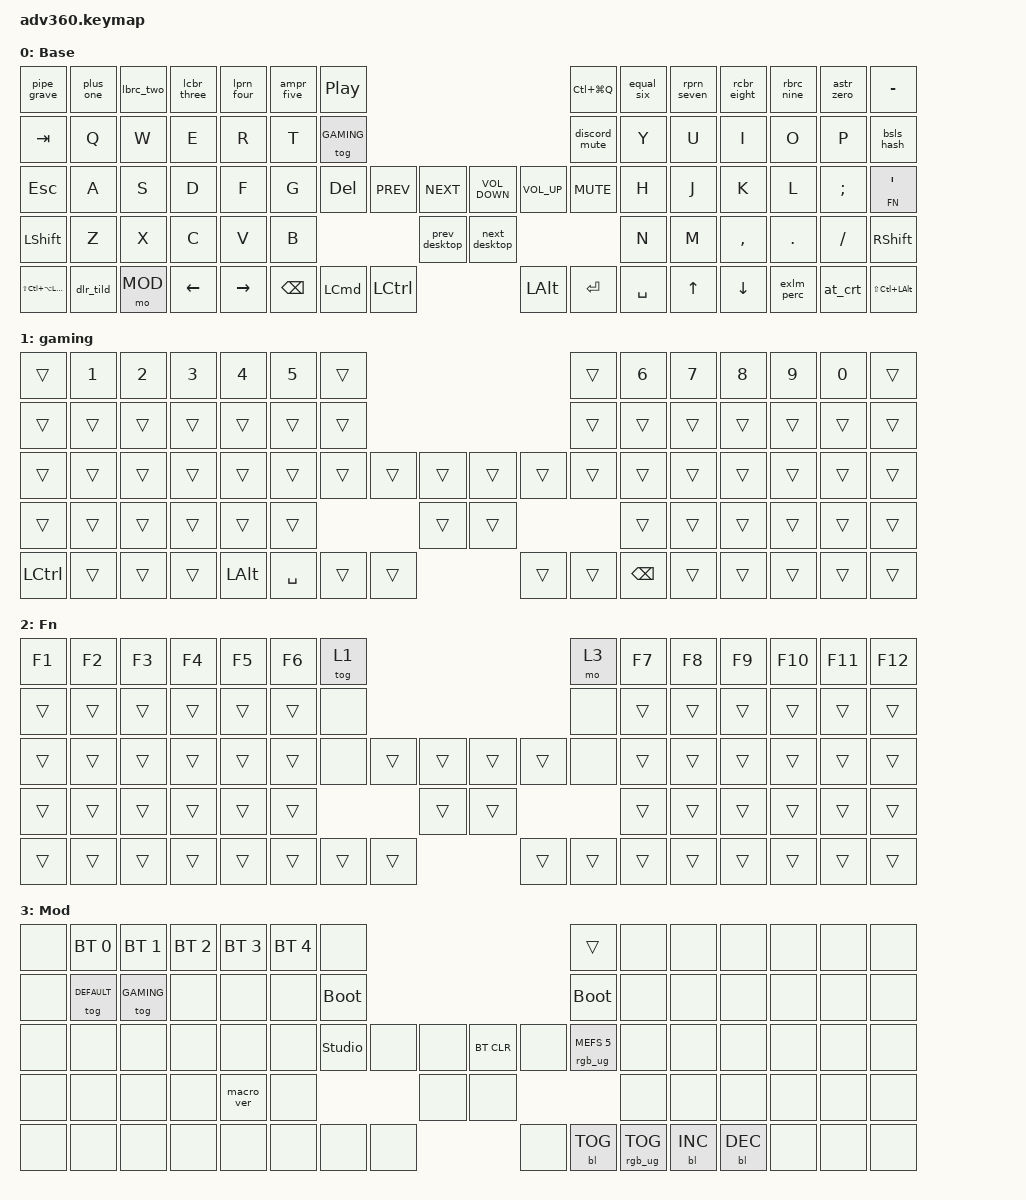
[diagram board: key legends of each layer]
#include <behaviors.dtsi>
#include <dt-bindings/zmk/keys.h>
#include <dt-bindings/zmk/bt.h>
#include <dt-bindings/zmk/rgb.h>
#include <dt-bindings/zmk/stp.h>
#include <dt-bindings/zmk/backlight.h>
#include <dt-bindings/zmk/pointing.h>

#define DEFAULT 0
#define GAMING 1
#define FN 2
#define MOD 3

#define HYP LS(LC(LA(LGUI)))
#define HYPER(key) LS(LC(LA(LG(key))))

#define MEH LS(LC(LALT))
#define MEH_KEY(key) LS(LC(LA(key)))

/ {
  macros {
    prev_desktop: prev_desktop {
      label = "MAC_PREV_DESKTOP";
      compatible = "zmk,behavior-macro";
      #binding-cells = <0>;
      bindings
        = <&macro_press &kp LCTRL>
        , <&macro_tap &kp LEFT>
        , <&macro_release &kp LCTRL>
        ;
    };

    next_desktop: next_desktop {
      label = "MAC_NEXT_DESKTOP";
      compatible = "zmk,behavior-macro";
      #binding-cells = <0>;
      bindings
        = <&macro_press &kp LCTRL>
        , <&macro_tap &kp RIGHT>
        , <&macro_release &kp LCTRL>
        ;
    };

    discord_mute: discord_mute {
      label = "MUTE_DISCORD";
      compatible = "zmk,behavior-macro";
      #binding-cells = <0>;
      bindings
        = <&macro_press &kp LGUI>
        , <&macro_press &kp LCTRL>
        , <&macro_press &kp LSHIFT>
        , <&macro_tap &kp F16>
        , <&macro_release &kp LSHIFT>
        , <&macro_release &kp LCTRL>
        , <&macro_release &kp LGUI>
        ;
    };

  };

    behaviors {
      #include "macros.dtsi"
      #include "version.dtsi"
      #ifndef VERSION_MACRO
      macro_ver: macro_ver {
        compatible = "zmk,behavior-macro";
        label = "macro_version";
        #binding-cells = <0>;
        bindings = <&kp RET>;
      };
      #endif
      pipe_grave: pipe_override {
          compatible = "zmk,behavior-mod-morph";
          label = "PIPE_GRAVE";
          #binding-cells = <0>;
          bindings = <&kp PIPE>, <&kp GRAVE>;
          mods = <(MOD_LSFT|MOD_RSFT)>;
      };

      plus_one: plus_override {
          compatible = "zmk,behavior-mod-morph";
          label = "PLUS_ONE";
          #binding-cells = <0>;
          bindings = <&kp PLUS>, <&kp N1>;
          mods = <(MOD_LSFT|MOD_RSFT)>;
      };

      lbrc_two: lbrc_override {
          compatible = "zmk,behavior-mod-morph";
          label = "LBRC_TWO";
          #binding-cells = <0>;
          bindings = <&kp LEFT_BRACKET>, <&kp N2>;
          mods = <(MOD_LSFT|MOD_RSFT)>;
      };

      lcbr_three: lcbr_override {
          compatible = "zmk,behavior-mod-morph";
          label = "LCBR_THREE";
          #binding-cells = <0>;
          bindings = <&kp LEFT_BRACE>, <&kp N3>;
          mods = <(MOD_LSFT|MOD_RSFT)>;
      };

      lprn_four: lprn_override{
          compatible = "zmk,behavior-mod-morph";
          label = "LPRN_FOUR";
          #binding-cells = <0>;
          bindings = <&kp LEFT_PARENTHESIS>, <&kp N4>;
          mods = <(MOD_LSFT|MOD_RSFT)>;
      };

      ampr_five: ampr_override {
          compatible = "zmk,behavior-mod-morph";
          label = "AMPR_FIVE";
          #binding-cells = <0>;
          bindings = <&kp AMPERSAND>, <&kp N5>;
          mods = <(MOD_LSFT|MOD_RSFT)>;
      };

      equal_six: equal_override {
          compatible = "zmk,behavior-mod-morph";
          label = "EQUAL_SIX";
          #binding-cells = <0>;
          bindings = <&kp EQUAL>, <&kp N6>;
          mods = <(MOD_LSFT|MOD_RSFT)>;
      };

      rprn_seven: rprn_override {
          compatible = "zmk,behavior-mod-morph";
          label = "RPRN_SEVEN";
          #binding-cells = <0>;
          bindings = <&kp RIGHT_PARENTHESIS>, <&kp N7>;
          mods = <(MOD_LSFT|MOD_RSFT)>;
      };

      rcbr_eight: rcbr_override {
          compatible = "zmk,behavior-mod-morph";
          label = "RCBR_EIGHT";
          #binding-cells = <0>;
          bindings = <&kp RIGHT_BRACE>, <&kp N8>;
          mods = <(MOD_LSFT|MOD_RSFT)>;
      };

      rbrc_nine: rbrc_override {
          compatible = "zmk,behavior-mod-morph";
          label = "RBRC_NINE";
          #binding-cells = <0>;
          bindings = <&kp RIGHT_BRACKET>, <&kp N9>;
          mods = <(MOD_LSFT|MOD_RSFT)>;
      };

      astr_zero: astr_override {
          compatible = "zmk,behavior-mod-morph";
          label = "ASTR_ZERO";
          #binding-cells = <0>;
          bindings = <&kp ASTRK>, <&kp N0>;
          mods = <(MOD_LSFT|MOD_RSFT)>;
      };

      exlm_perc: exlm_override {
          compatible = "zmk,behavior-mod-morph";
          label = "EXLM_PERC";
          #binding-cells = <0>;
          bindings = <&kp EXCLAMATION>, <&kp PRCNT>;
          mods = <(MOD_LSFT|MOD_RSFT)>;
      };

      bsls_hash: bsls_override {
          compatible = "zmk,behavior-mod-morph";
          label = "BSLS_HASH";
          #binding-cells = <0>;
          bindings = <&kp BSLH>, <&kp HASH>;
          mods = <(MOD_LSFT|MOD_RSFT)>;
      };

      at_crt: at_override {
          compatible = "zmk,behavior-mod-morph";
          label = "AT_CRT";
          #binding-cells = <0>;
          bindings = <&kp AT>, <&kp CARET>;
          mods = <(MOD_LSFT|MOD_RSFT)>;
      };

      dlr_tild: dlr_override {
          compatible = "zmk,behavior-mod-morph";
          label = "DLR_TILD";
          #binding-cells = <0>;
          bindings = <&kp DOLLAR>, <&kp TILDE>;
          mods = <(MOD_LSFT|MOD_RSFT)>;
      };


      hm: homerow_mods {
          compatible = "zmk,behavior-hold-tap";
          label = "HOMEROW_MODS";
          #binding-cells = <2>;
          tapping-term-ms = <200>;
          quick_tap_ms = <175>;
          flavor = "tap-preferred";
          bindings = <&kp>, <&kp>;
      };
    };

  keymap {
    compatible = "zmk,keymap";

    default_layer {
      display-name = "Base";
      bindings = <
        &pipe_grave                       &plus_one    &lbrc_two   &lcbr_three   &lprn_four     &ampr_five &kp C_PP                                                                                             &kp LC(LG(Q))      &equal_six &rprn_seven &rcbr_eight    &rbrc_nine   &astr_zero   &kp MINUS
        &kp TAB                           &kp Q        &kp W       &kp E         &kp R          &kp T      &tog GAMING                                                                                          &discord_mute      &kp Y      &kp U       &kp I          &kp O        &kp P        &bsls_hash
        &kp ESC                           &kp A        &kp S       &kp D         &kp F          &kp G      &kp DEL                   &kp C_PREV        &kp C_NEXT            &kp C_VOLUME_DOWN  &kp C_VOLUME_UP &kp C_MUTE         &kp H      &kp J       &kp K          &kp L        &kp SEMI     &lt FN SQT
        &kp LSHFT                         &kp Z        &kp X       &kp C         &kp V          &kp B                                                  &prev_desktop         &next_desktop                                         &kp N      &kp M       &kp COMMA      &kp DOT      &kp FSLH     &kp RSHFT
        &kp LS(LC(LA(LGUI)))              &dlr_tild    &mo MOD     &kp LEFT      &kp RIGHT                                 &kp BSPC  &kp LEFT_COMMAND  &kp LEFT_CONTROL      &kp LEFT_ALT       &kp ENTER  &kp SPACE                          &kp UP      &kp DOWN       &exlm_perc   &at_crt      &kp LS(LC(LALT))
      >;
    };

    gaming {
      bindings = <
        &trans                            &kp N1        &kp N2     &kp N3        &kp N4          &kp N5    &trans                                                                                               &trans              &kp N6     &kp N7      &kp N8         &kp N9       &kp N0       &trans
        &trans                            &trans        &trans     &trans        &trans          &trans    &trans                                                                                               &trans              &trans     &trans      &trans         &trans       &trans       &trans
        &trans                            &trans        &trans     &trans        &trans          &trans    &trans                    &trans             &trans                &trans              &trans        &trans              &trans     &trans      &trans         &trans       &trans       &trans
        &trans                            &trans        &trans     &trans        &trans          &trans                                                 &trans                &trans                                                &trans     &trans      &trans         &trans       &trans       &trans
        &kp LEFT_CONTROL                  &trans        &trans     &trans        &kp LEFT_ALT                      &kp SPACE &trans  &trans             &trans                &trans              &kp BSPC      &trans &trans &trans  &trans  &trans
      >;
    };

    fn {
      display-name = "Fn";
      bindings = <
        &kp F1 &kp F2 &kp F3 &kp F4 &kp F5 &kp F6 &tog 1                                           &mo 3 &kp F7 &kp F8 &kp F9 &kp F10 &kp F11 &kp F12
        &trans &trans &trans &trans &trans &trans  &none                                           &none &trans &trans &trans &trans  &trans  &trans
        &trans &trans &trans &trans &trans &trans  &none        &trans &trans &trans &trans        &none &trans &trans &trans &trans  &trans  &trans
        &trans &trans &trans &trans &trans &trans                      &trans &trans                     &trans &trans &trans &trans  &trans  &trans
        &trans &trans &trans &trans &trans               &trans &trans &trans &trans &trans &trans              &trans &trans &trans  &trans  &trans
      >;
    };
    mod {
      display-name = "Mod";
      bindings = <
        &none &bt BT_SEL 0 &bt BT_SEL 1 &bt BT_SEL 2 &bt BT_SEL 3 &bt BT_SEL 4 &none                                                                     &trans                 &none        &none        &none        &none &none &none
        &none &tog DEFAULT &tog GAMING  &none        &none        &none        &bootloader                                                               &bootloader            &none        &none        &none        &none &none &none
        &none &none        &none        &none        &none        &none        &studio_unlock                   &none &none &bt BT_CLR &none                      &rgb_ug RGB_MEFS_CMD 5 &none        &none        &none        &none &none &none
        &none &none        &none        &none        &macro_ver   &none                                      &none &none                                                        &none        &none        &none        &none &none &none
        &none &none        &none        &none        &none                                       &none &none &none &none      &bl BL_TOG &rgb_ug RGB_TOG                                     &bl BL_INC   &bl BL_DEC   &none &none &none
      >;
    };
    extra1 { 
      display-name = "Red";    
      status = "reserved";
    };

    extra2 { 
      display-name = "Purple";    
      status = "reserved";
    };

    extra3 { 
      display-name = "Cyan";    
      status = "reserved";
    };

    extra4 { 
      display-name = "Yellow";    
      status = "reserved";
    };
  };
};
